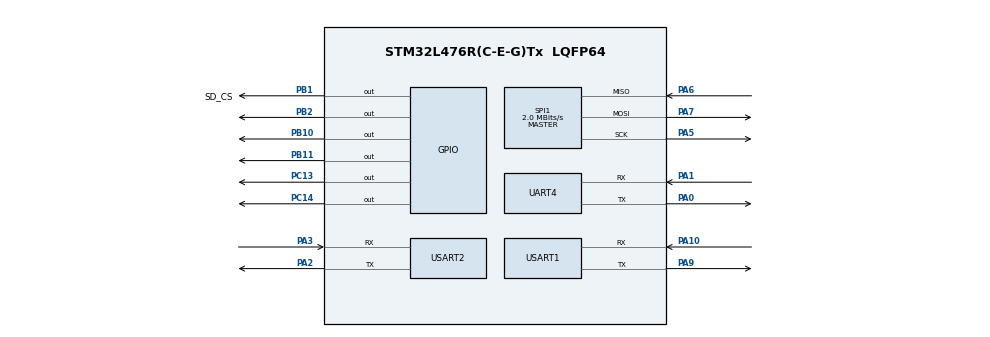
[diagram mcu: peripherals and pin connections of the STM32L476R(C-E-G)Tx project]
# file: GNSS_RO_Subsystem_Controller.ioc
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Dma.Request0=UART4_RX
Dma.Request1=USART2_RX
Dma.UART4_RX.0.Direction=DMA_PERIPH_TO_MEMORY
Dma.UART4_RX.0.Instance=DMA2_Channel5
Dma.UART4_RX.0.MemDataAlignment=DMA_MDATAALIGN_BYTE
Dma.UART4_RX.0.MemInc=DMA_MINC_ENABLE
Dma.UART4_RX.0.Mode=DMA_NORMAL
Dma.UART4_RX.0.PeriphDataAlignment=DMA_PDATAALIGN_BYTE
Dma.UART4_RX.0.PeriphInc=DMA_PINC_DISABLE
Dma.UART4_RX.0.Priority=DMA_PRIORITY_VERY_HIGH
Dma.USART2_RX.1.Direction=DMA_PERIPH_TO_MEMORY
Dma.USART2_RX.1.Instance=DMA1_Channel6
Dma.USART2_RX.1.MemDataAlignment=DMA_MDATAALIGN_BYTE
Dma.USART2_RX.1.MemInc=DMA_MINC_ENABLE
Dma.USART2_RX.1.Mode=DMA_NORMAL
Dma.USART2_RX.1.PeriphDataAlignment=DMA_PDATAALIGN_BYTE
Dma.USART2_RX.1.PeriphInc=DMA_PINC_DISABLE
Dma.USART2_RX.1.Priority=DMA_PRIORITY_LOW
FATFS._MAX_SS=4096
FATFS._USE_LFN=1
Mcu.Family=STM32L4
Mcu.Name=STM32L476R(C-E-G)Tx
Mcu.Package=LQFP64
NVIC.DMA1_Channel6_IRQn=true\:0\:0\:false\:false\:true\:false\:true\:true
NVIC.DMA2_Channel5_IRQn=true\:0\:0\:false\:false\:true\:false\:true\:true
NVIC.PriorityGroup=NVIC_PRIORITYGROUP_4
NVIC.UART4_IRQn=true\:0\:0\:false\:false\:true\:true\:true\:true
NVIC.USART1_IRQn=true\:0\:0\:false\:false\:true\:true\:true\:true
NVIC.USART2_IRQn=true\:0\:0\:false\:false\:true\:true\:true\:true
PA0.Mode=Asynchronous
PA0.Signal=UART4_TX
PA1.Mode=Asynchronous
PA1.Signal=UART4_RX
PA10.Mode=Asynchronous
PA10.Signal=USART1_RX
PA2.Mode=Asynchronous
PA2.Signal=USART2_TX
PA3.Mode=Asynchronous
PA3.Signal=USART2_RX
PA5.Mode=Full_Duplex_Master
PA5.Signal=SPI1_SCK
PA6.Mode=Full_Duplex_Master
PA6.Signal=SPI1_MISO
PA7.Mode=Full_Duplex_Master
PA7.Signal=SPI1_MOSI
PA9.Mode=Asynchronous
PA9.Signal=USART1_TX
PB1.GPIO_Label=SD_CS
PB1.Signal=GPIO_Output
PB10.Signal=GPIO_Output
PB11.Signal=GPIO_Output
PB2.Signal=GPIO_Output
PC13.Signal=GPIO_Output
PC14-OSC32_IN\ (PC14).Signal=GPIO_Output
ProjectManager.HeapSize=0x200
ProjectManager.StackSize=0x400
ProjectManager.TargetToolchain=STM32CubeIDE
RCC.HSE_VALUE=8000000
RCC.HSI_VALUE=16000000
RCC.LSE_VALUE=32768
RCC.MSI_VALUE=4000000
RCC.VCOOutputFreq_Value=32000000
SPI1.BaudRatePrescaler=SPI_BAUDRATEPRESCALER_2
SPI1.CalculateBaudRate=2.0 MBits/s
SPI1.DataSize=SPI_DATASIZE_8BIT
SPI1.Direction=SPI_DIRECTION_2LINES
SPI1.Mode=SPI_MODE_MASTER
SPI1.VirtualType=VM_MASTER
USART1.VirtualMode-Asynchronous=VM_ASYNC
USART2.VirtualMode-Asynchronous=VM_ASYNC
VP_FATFS_VS_Generic.Mode=User_defined
board=custom

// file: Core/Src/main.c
/* USER CODE BEGIN Header */
/**
  ******************************************************************************
  * @file           : main.c
  * @brief          : Main program body
  ******************************************************************************
  * @attention
  *
  * Copyright (c) 2024 STMicroelectronics.
  * All rights reserved.
  *
  * This software is licensed under terms that can be found in the LICENSE file
  * in the root directory of this software component.
  * If no LICENSE file comes with this software, it is provided AS-IS.
  *
  ******************************************************************************
  */
/* USER CODE END Header */
#include "main.h"
#include "fatfs.h"

/* USER CODE BEGIN Includes */

#include "types.h"
#include "string.h"
#include "nmea.h"
#include "configure_receiver_commands.h"
/* USER CODE END Includes */

/* USER CODE BEGIN PD */
FATFS fs;
FATFS *pfs;
FIL filB16, filB17;
UINT BW = 0;
FRESULT fres;
char pvt_reserve[200];

#define SD_card_enabled 				0
#define B16_ENABLED						0
#define B17_ENABLED						1
#define UPDATE_TO_SRAM					0x00
#define UPDATE_TO_SRAM_AND_FLASH		0x01

#define BUFFER_SIZE_B16					100 //150
#define BUFFER_SIZE_B17					700
#define UART_B16						huart4
#define UART_B17						huart1
#define UART_OBC						huart2

/* USER CODE END PD */

SPI_HandleTypeDef hspi1;

UART_HandleTypeDef huart4;
UART_HandleTypeDef huart1;
UART_HandleTypeDef huart2;
DMA_HandleTypeDef hdma_uart4_rx;
DMA_HandleTypeDef hdma_usart2_rx;

/* USER CODE BEGIN PV */
volatile int buffer_full_B16 = 0;
volatile int buffer_full_B17 = 0;
volatile int callback_index = 0;

uint8_t buffer_B16[2*BUFFER_SIZE_B16];
uint8_t buffer_B17[2*BUFFER_SIZE_B17];

int cmd_sent_B16 = 0;
int cmd_sent_B17 = 0;
int ack_flag_B16 = 0, nack_flag_B16 = 0;
int ack_flag_B17 = 0, nack_flag_B17 = 0;
int navigation_message_counter = 0;
char* num_to_constellation[7] = {"GPS", "SBA", "GLO", "GAL", "QZS", "BEI", "IRN"};
uint8_t enter_doze_mode[9] = {0xA0, 0xA1, 0x00, 0x02, 0x64, 0x1C, 0x78, 0x0D, 0x0A};
uint8_t set_factory_defaults[9] = {0xA0, 0xA1, 0x00, 0x02, 0x04, 0x01, 0x05, 0x0D, 0x0A};

volatile DMAStatus DMAHandler_B16;
volatile DMAStatus DMAHandler_B17;

/* USER CODE END PV */

void SystemClock_Config(void);
static void MX_GPIO_Init(void);
static void MX_DMA_Init(void);
static void MX_SPI1_Init(void);
static void MX_UART4_Init(void);
static void MX_USART2_UART_Init(void);
static void MX_USART1_UART_Init(void);

/* USER CODE BEGIN 0 */
void WriteLineChar(UART_HandleTypeDef* huart, char* data){
	/*
	 * Tries to emulate writeline function from matlab. Maintains a timeout of 100 ms.
	 * input: UART_HandleTypeDef* containing a pointer to the huart, char* containing the data to be sent.
	 * */
	if(data == NULL){
		WriteLineChar(huart, " ");
	}
	else{
		HAL_StatusTypeDef status = HAL_UART_Transmit(huart, (uint8_t*)data, strlen(data), HAL_MAX_DELAY);
		if(status !=HAL_OK){
			WriteLineChar(&huart2, "\r\nERROR: WriteLineChar Data Transmission failed\r\n");
		}
		if(status == HAL_BUSY){
			WriteLineChar(&huart2, "\r\nERROR: UART busy\r\n");
		}
	}
	return;
}

void WriteLineUint(UART_HandleTypeDef* huart, uint8_t_array info){
	/*--EXPERIMENTAL--
	 * Tries to emulate writeline function from matlab. Maintains a timeout of 100 ms.
	 * input: UART_HandleTypeDef* containing a pointer to the huart, uint8_t_array containing the data to be sent.
	 * */

	if(info.data == NULL || info.length == 0){
		WriteLineChar(huart, " ");
	}
	else{
		if(HAL_UART_Transmit(huart, info.data, info.length, HAL_MAX_DELAY)!=HAL_OK){

			WriteLineChar(&huart2, "\r\nERROR: WriteLineUint Data Transmission failed\r\n");

		}
	}
	return;
}

const char* FRESULT_String(FRESULT res) {
    switch (res) {
        case FR_OK:                  return "FR_OK";                   // (0) Succeeded
        case FR_DISK_ERR:            return "FR_DISK_ERR";             // (1) A hard error occurred in the low-level disk I/O layer
        case FR_INT_ERR:             return "FR_INT_ERR";              // (2) Assertion failed
        case FR_NOT_READY:           return "FR_NOT_READY";            // (3) The physical drive cannot work
        case FR_NO_FILE:             return "FR_NO_FILE";              // (4) Could not find the file
        case FR_NO_PATH:             return "FR_NO_PATH";              // (5) Could not find the path
        case FR_INVALID_NAME:        return "FR_INVALID_NAME";         // (6) The path name format is invalid
        case FR_DENIED:              return "FR_DENIED";               // (7) Access denied due to prohibited access or directory full
        case FR_EXIST:               return "FR_EXIST";                // (8) Access denied due to file already existing
        case FR_INVALID_OBJECT:      return "FR_INVALID_OBJECT";       // (9) The file/directory object is invalid
        case FR_WRITE_PROTECTED:     return "FR_WRITE_PROTECTED";      // (10) The physical drive is write protected
        case FR_INVALID_DRIVE:       return "FR_INVALID_DRIVE";        // (11) The logical drive number is invalid
        case FR_NOT_ENABLED:         return "FR_NOT_ENABLED";          // (12) The volume has no work area
        case FR_NO_FILESYSTEM:       return "FR_NO_FILESYSTEM";        // (13) There is no valid FAT volume
        case FR_MKFS_ABORTED:        return "FR_MKFS_ABORTED";         // (14) The f_mkfs() aborted due to any problem
        case FR_TIMEOUT:             return "FR_TIMEOUT";              // (15) Could not get a grant to access the volume within the defined period
        case FR_LOCKED:              return "FR_LOCKED";               // (16) The operation is rejected according to the file sharing policy
        case FR_NOT_ENOUGH_CORE:     return "FR_NOT_ENOUGH_CORE";      // (17) LFN working buffer could not be allocated
        case FR_TOO_MANY_OPEN_FILES: return "FR_TOO_MANY_OPEN_FILES";  // (18) Number of open files > _FS_SHARE
        case FR_INVALID_PARAMETER:   return "FR_INVALID_PARAMETER";    // (19) Given parameter is invalid
        default:                     return "Unknown Error";           // Unknown result code
    }
}

//Switch:
void Antenna_Switch(int op){
    /*Sets the antenna 2-in and 4-in switches according to table 4 on Pau's TFG:
    inputs: op, a char* that can be: "RO_FRONT" to configure RO using front antennas.
    "RO_BEHIND" that does the same for the antennas looking behind.
    "REFLECTOMETRY" configurations for GNSS-R experiments
    "CHANGES_POLARIZATION" that is used to study changes in forward signal polarization.*/
    /*Set the correct GPIOx GPIO_Pin once we have PCB layout!!*/
    //Reset all pins to avoid unexpected behaviours in the PCB.
    //We assume for the moment that PC13 is control 1 and PC14 is control 2

    uint16_t control_2_1 = GPIO_PIN_13, control_2_2 = GPIO_PIN_14;
    uint16_t control_4_1 = GPIO_PIN_2, control_4_2 = GPIO_PIN_10, control_4_3 = GPIO_PIN_11; //PLACE THEM IN DEFINE OR HIGH LEVEL!!

    //Reset 2-in switch:
    HAL_GPIO_WritePin(GPIOC, control_2_1, GPIO_PIN_RESET);
    HAL_GPIO_WritePin(GPIOC, control_2_2, GPIO_PIN_RESET);
    //Reset 4-in switch:
    //We assume for the moment that PB2 is control 1, PB10 is control 2, PB11 is control 3.

    HAL_GPIO_WritePin(GPIOB, control_4_2, GPIO_PIN_RESET);
    HAL_GPIO_WritePin(GPIOB, control_4_1, GPIO_PIN_SET);
    HAL_GPIO_WritePin(GPIOB, control_4_3, GPIO_PIN_SET);

    switch (op){
    case RO_FRONT_RHCP:
    	//TODO: Check this with AC!!
		//Set the 2-in switch to Navigation UP
		HAL_GPIO_WritePin(GPIOC, control_2_1, GPIO_PIN_SET);
		//Set the 4-in switch to Front antenna (RHCP)
		HAL_GPIO_WritePin(GPIOB, control_4_1, GPIO_PIN_SET);
		HAL_GPIO_WritePin(GPIOB, control_4_2, GPIO_PIN_SET);
		break;

    case RO_FRONT_LHCP:
    	//TODO: Check this with AC!!
		//Set the 2-in switch to Navigation UP
		HAL_GPIO_WritePin(GPIOC, control_2_1, GPIO_PIN_SET);
		//Set the 4-in switch to Front antenna (LHCP)
		HAL_GPIO_WritePin(GPIOB, control_4_3, GPIO_PIN_SET);
		break;

    case RO_BEHIND:
    	//Set the 2-in switch to Navigation UP
		HAL_GPIO_WritePin(GPIOC, control_2_1, GPIO_PIN_SET);
		//Set the 4-in switch to Back antenna
		HAL_GPIO_WritePin(GPIOB, control_4_1, GPIO_PIN_SET);
		break;

    case REFLECTOMETRY:
    	 //Set the 2-in switch to Navigation UP
		HAL_GPIO_WritePin(GPIOC, control_2_1, GPIO_PIN_SET);
		//Set the 4-in switch to Down antenna
		HAL_GPIO_WritePin(GPIOB, control_4_2, GPIO_PIN_SET);
		break;

    case CHANGES_POLARIZATION:
    	 //Set the 2-in switch to Front antenna (LHCP)
		HAL_GPIO_WritePin(GPIOC, control_2_2, GPIO_PIN_SET);
		//Set the 4-in switch to Front antenna (RHCP)
		HAL_GPIO_WritePin(GPIOB, control_4_1, GPIO_PIN_SET);
		HAL_GPIO_WritePin(GPIOB, control_4_2, GPIO_PIN_SET);

    default:
    	return;
    }
 return;
}
// Get RAW data functions:

uint32_t_array Get_Dopplers_RAW(uint8_t_array raw){
    uint8_t nmeas = raw.data[17];
    uint32_t_array doppler;
    doppler.length = nmeas;
    doppler.data = (uint32_t*)malloc(doppler.length*sizeof(uint32_t));
    if(doppler.data == NULL){exit(-1);}

    int i = 0, j = 0;
    for(i = 0; i<nmeas; i++){
        doppler.data[i] = 0;
        for(j=0; j<4; j++){

            doppler.data[i] |= (uint32_t) raw.data[38+31*i+j]<<(8*(3-j));
        }
    }
    return doppler;
}

uint32_t Get_TOW_RAW(uint8_t_array raw){
/*Gets the time of week (TOW) from the raw message*/
    uint32_t tow = 0x00000000;
    int j = 0;

    for(j=0; j<4; j++){
        tow |= (uint32_t) raw.data[9+j]<<(8*(3-j));

    }

    return tow;
}

uint16_t Get_WN_RAW(uint8_t_array raw){
    uint16_t wn = 0x0000;

    int j = 0;

    for(j=0; j<2; j++){
        wn |= (uint32_t) raw.data[7+j]<<(8*(1-j));
    }
    return wn;
}

uint64_t_array Get_Carrier_Cycle_RAW(uint8_t_array raw){
    uint8_t nmeas = raw.data[17];
    uint64_t_array carrier_cycle;
    carrier_cycle.length = nmeas;
    carrier_cycle.data = (uint64_t*)malloc(nmeas*sizeof(uint64_t));
    if(carrier_cycle.data == NULL){exit(-1);}
    int i = 0, j=0;
    for(i = 0; i<nmeas; i++){
        carrier_cycle.data[i] = 0;
        for(j=0; j<8; j++){
            carrier_cycle.data[i] |= (uint64_t) raw.data[30+31*i+j]<<(8*(7-j));
        }
    }

    return carrier_cycle;
}

uint64_t_array Get_Pseudorange_RAW(uint8_t_array raw){
    uint8_t nmeas = raw.data[17];
    uint64_t_array pseudorange;
    pseudorange.length = nmeas;
    pseudorange.data = (uint64_t*)malloc(nmeas*sizeof(uint64_t));
    if(pseudorange.data == NULL){exit(-1);}
    int i = 0, j=0;
    for(i = 0; i<nmeas; i++){
        pseudorange.data[i] = 0;
        for(j=0; j<8; j++){

            pseudorange.data[i] |= (uint64_t) raw.data[22+31*i+j]<<(8*(7-j));
        }
    }

    return pseudorange;
}

uint8_t_array Get_CN0_RAW(uint8_t_array raw){
    uint8_t nmeas = raw.data[17];
    uint8_t_array cno;
    cno.length = nmeas;
    cno.data = (uint8_t*)malloc(cno.length*sizeof(uint8_t));
    for(int i=0; i<nmeas; i++){
        cno.data[i] = raw.data[21+31*i];
    }

    return cno;
}

char** Get_Constellation_RAW(uint8_t_array raw){
    /*Obtains the constellation of the GNSS satellite from the raw message. (WARNING: in AN0039, the value 0xXY is in little endian, so X is the frequency band and Y is the constellation!!)
    input: raw message in an uint8_t array.
    output: char** matrix of length nmeas with each char* containing the constellation: GPS, SBA (SBAS), GLO (GLONASS), GAL (Galileo), BEI (BEIDOU), QZS (QZSS), IRN (IRNSS)*/
    uint8_t nmeas = raw.data[17];
    int i = 0;
    uint8_t buffer;
    char** constellation = (char**)malloc(nmeas*sizeof(char*));
    if(constellation==NULL){exit(-1);}
    for(i=0; i<nmeas; i++){
        constellation[i] = (char*)malloc(4*sizeof(char));
        if(constellation[i]==NULL){exit(-1);}
        constellation[i][3] = '\0';
    }
    for(i=0; i<nmeas; i++){
        buffer = raw.data[18+31*i];
        strcpy(constellation[i], num_to_constellation[(buffer) & 0x0F]);

    }
    return constellation;

}

char** Get_Frequency_Band_RAW(uint8_t_array raw, char** constellation){
    /*Obtains the frequency band of the signal from the GNSS satellite taken from the raw message. (WARNING: in AN0039, the value 0xXY is in little endian, so X is the frequency band and Y is the constellation!!)
    inputs: raw message in an uint8_t array, char** containing the constellations (call Get_Constellation_RAW first!!).
    output: char** matrix of length nmeas with each char* containing the frequency bands (see AN0039 for detail or the code below).
    */
    uint8_t nmeas = raw.data[17];
    int i = 0;
    uint8_t buffer;
    char** freq_band = (char**)malloc(nmeas*sizeof(char*));
    if(freq_band==NULL){exit(-1);}
    for(i=0; i<nmeas; i++){
        freq_band[i] = (char*)malloc(6*sizeof(char));
        if(freq_band[i]==NULL){exit(-1);}
        freq_band[i][5] = '\0';
    }
    for(i=0; i<nmeas; i++){
        buffer = (raw.data[18+31*i]>>4) & 0x0F;

        if(strcmp(constellation[i], "GPS")==0 || strcmp(constellation[i], "QZS")==0){
            switch(buffer){
                case 0:
                strcpy(freq_band[i], "L1C/A");
                break;
                case 1:
                strcpy(freq_band[i], "L1C");
                break;
                case 2:
                strcpy(freq_band[i], "L2C");
                break;
                case 4:
                strcpy(freq_band[i], "L5");
                break;
                case 6:
                strcpy(freq_band[i], "LEX");
                break;
            }
        }
        else if(strcmp(constellation[i], "GLO")==0){
            switch(buffer){
                case 0:
                strcpy(freq_band[i], "L1");
                break;
                case 2:
                strcpy(freq_band[i], "L2");
                break;
                case 4:
                strcpy(freq_band[i], "L3");
                break;
            }

        }
        else if(strcmp(constellation[i], "GAL")==0){
            switch(buffer){
                case 0:
                strcpy(freq_band[i], "E1");
                break;
                case 4:
                strcpy(freq_band[i], "E5a");
                break;
                case 5:
                strcpy(freq_band[i], "E5b");
                break;
                case 6:
                strcpy(freq_band[i], "E6");
                break;

            }

        }

        else if(strcmp(constellation[i], "BEI")==0){
            switch(buffer){
                case 0:
                strcpy(freq_band[i], "B1I");
                break;
                case 1:
                strcpy(freq_band[i], "B1C");
                break;
                case 4:
                strcpy(freq_band[i], "B2A");
                break;
                case 5:
                strcpy(freq_band[i], "B2I");
                break;
                case 7:
                strcpy(freq_band[i], "B3I");
                break;

            }
        }
        else if(strcmp(constellation[i], "SBA")==0){
            strcpy(freq_band[i], "L1");

        }
        else{
            strcpy(freq_band[i], "L5");
        }
    }
    return freq_band;

}

uint8_t_array Get_SVID_RAW(uint8_t_array raw){
    /*Gets SVIDs from raw message.
    input: uint8_t_array containing the raw message.
    output: uint8_t_array containing the SVID for each channel.*/
    uint8_t_array SVID;
    SVID.length = raw.data[17];
    SVID.data = malloc(SVID.length*sizeof(uint8_t));
    if(SVID.data==NULL){exit(-1);}
    int i = 0;
    for(i=0; i<SVID.length; i++){
        SVID.data[i] = raw.data[19+i*31];
    }
    return SVID;
}

uint8_t_array Tokenize_uint8_t_array(uint8_t_array arr, int* beginning_mark){
    /*Tokenizes a buffer containing messages in binary protocol for B16/17 receivers.
    inputs: a uint8_t_array containing the buffer, an int* pointer storing the beginning point of the message we're looking for.
    beginning_mark updates itself automatically. Beware of resetting it after the buffer is complete!!
    outputs: the message.
    */
    int i = 0, j = 0;
    uint8_t_array msg = {NULL, 0};
    //Get the points at which the message begins and ends.
    if(*beginning_mark < arr.length -2){
        for(i=*beginning_mark; i<arr.length-1; i++){
            if(arr.data[i]==0xA0 && arr.data[i+1] == 0xA1){
                for(j=i+2; j<arr.length; j++){
                    if(arr.data[j-1]==0x0D && arr.data[j]==0x0A){
                        msg.length = j+1-i;
                        msg.data = (uint8_t*)malloc(msg.length*sizeof(uint8_t));
                        if(msg.data == NULL){exit(-1);}
                        memcpy(msg.data, arr.data+i, msg.length);
                        *beginning_mark = j+1;
                        return msg;
                    }
                }

            }

        }
    }

    // If no valid message is found, return an empty array

    *beginning_mark = arr.length;
    return msg;
}

char* Hex_to_String(uint8_t_array arr){
    /*Converts a hexadecimal array to a string (without spaces).
    inputs: uint8_t_array with the array to convert.
    output: char* with the converted array to a string.*/
    int i = 0;
    char* str = (char*)malloc((2*arr.length+1)*sizeof(char));

    char* buffer = (char*)malloc(3*sizeof(char));
    if(str==NULL||buffer==NULL){exit(-1);}
    str[2*arr.length] = '\0';
    buffer[2] = '\0';

    for(i=0; i<arr.length; i++){
        char hexChars[17]="0123456789ABCDEF";
        buffer[0] = hexChars[(arr.data[i] >> 4) & 0x0F]; // High nibble
        buffer[1] = hexChars[arr.data[i] & 0x0F];        // Low nibble

        strcpy(str+2*i, buffer);

    }
    free(buffer);
    return str;
}

uint8_t_array Build_Binary_OBC_Data(uint8_t_array raw, char* receiver_id, uint16_t wn, uint32_t tow, uint8_t_array svid, uint32_t_array doppler, uint64_t_array pseudorange, uint64_t_array carrier, uint8_t_array cno){
    /*Builds the binary message containing all the raw data that will be sent to the OBC. It's 23*NMEAS+13 bytes long. */
    uint8_t_array msg;
    uint16_t nmeas = raw.data[17];
    msg.length = 23*nmeas+13;
    msg.data = (uint8_t*)malloc(msg.length*sizeof(uint8_t));
    if(msg.data == NULL){exit(-1);}
    int i= 0, j = 0;
    uint8_t buffer = 0x00;

    msg.data[0] = 0xA0, msg.data[1] = 0xA1;
    msg.data[msg.length-2] = 0x0D, msg.data[msg.length-1] = 0x0A;

    if(strcmp(receiver_id, "B16")==0){msg.data[2] = 0x01;}
    if(strcmp(receiver_id, "B17")==0){msg.data[2] = 0x11;}

    memcpy(msg.data+3, &wn, 2);
    for(j=0; j<4; j++){
        buffer = (tow>>(24-8*j))&0xFF;
        memcpy(msg.data+5+j, &buffer, 1);
    }
    memcpy(msg.data+9, &nmeas, 2);

    for(i=0; i<nmeas; i++){
        //Constellation + Frequency
        memcpy(msg.data+10+23*i, raw.data+18+(i*31), 1);
        //SVID
        memcpy(msg.data+11+23*i, raw.data+19+(i*31), 1);

        for(j=0; j<4; j++){
            buffer = (doppler.data[i]>>(24-8*j)) & 0xFF;
            memcpy(msg.data+12+j+23*i, &buffer, 1);
        }
        for(j=0; j<8; j++){
            buffer = (pseudorange.data[i]>>(56-8*j)) & 0xFF;
            memcpy(msg.data+16+j+23*i, &buffer, 1);
        }
        for(j=0; j<8; j++){
            buffer = (carrier.data[i]>>(56-8*j)) & 0xFF;
            memcpy(msg.data+24+j+23*i, &buffer, 1);
        }

        memcpy(msg.data+32+23*i, &cno.data[i], 1);
    }

    uint8_t checksum = 0x00;

    for(i=2; i<msg.length-3;i++){
        checksum ^= msg.data[i];
    }
    msg.data[msg.length-3] = checksum;
    return msg;
}

void Process_Binary_Data(uint8_t_array arr, char* receiver_id, FIL fil){

	int beginning_mark = 0;

	while(beginning_mark < arr.length){

		uint8_t_array msg = Tokenize_uint8_t_array(arr, &beginning_mark);

		if(msg.data[4]==0xE5){

			uint8_t nmeas = msg.data[17]; //For future conversion towards static memory...

			uint32_t tow = Get_TOW_RAW(msg);

			uint16_t wn = Get_WN_RAW(msg);

			uint8_t_array cno_msg = Get_CN0_RAW(msg);

			uint64_t_array carrier_msg = Get_Carrier_Cycle_RAW(msg);

			uint64_t_array pseudo_msg = Get_Pseudorange_RAW(msg);

			uint32_t_array doppler_msg = Get_Dopplers_RAW(msg);

			uint8_t_array svid_msg = Get_SVID_RAW(msg);

			char** constellation_msg = Get_Constellation_RAW(msg);

			char** freq_band_msg = Get_Frequency_Band_RAW(msg, constellation_msg);

			//TODO: add SRAM/SD storage and OBC transmit (pass storage as pointer...).

			uint64_t carrier_placeholder = 0, pseudo_placeholder = 0;

			uint32_t doppler_placeholder = 0;

			//Craft data entry: WN, TOW, Constellation, SVID, Freq Band, Lat, Lon, Alt, Doppler, Pseudorange, Carrier, CN0\n

			float doppler_float = 0;
			double pseudorange_double = 0, carrier_double = 0;

			for(int i=0; i<cno_msg.length; i++){

				doppler_float = 0;
				pseudorange_double = 0;
				carrier_double = 0;

				char* msg_buffer = malloc(401*sizeof(char));

				if(msg_buffer==NULL){exit(-1);}

				msg_buffer[400] = '\0';

				//convert from hex to several types.

				doppler_placeholder = doppler_msg.data[i];

				pseudo_placeholder = pseudo_msg.data[i];

				carrier_placeholder = carrier_msg.data[i];

				memcpy(&doppler_float, &doppler_placeholder, sizeof(float));

				memcpy(&pseudorange_double, &pseudo_placeholder, sizeof(double));

				memcpy(&carrier_double, &carrier_placeholder, sizeof(double));

				snprintf(msg_buffer, 400, "%s,%u,%u,%s,%u,%s,,,,%f,%lf,%lf,%u\n", receiver_id, wn, tow, constellation_msg[i], svid_msg.data[i], freq_band_msg[i], doppler_float, pseudorange_double, carrier_double, cno_msg.data[i]);

				if(SD_card_enabled == 1){
					f_puts(msg_buffer, &fil);
				}

				free(msg_buffer);

			}

			//Craft message for OBC.

			uint8_t_array msg_OBC = Build_Binary_OBC_Data(msg, receiver_id, wn, tow, svid_msg, doppler_msg, pseudo_msg, carrier_msg, cno_msg);

			HAL_UART_Transmit_IT(&UART_OBC, msg_OBC.data, msg_OBC.length);
			free(cno_msg.data), free(carrier_msg.data), free(pseudo_msg.data), free(doppler_msg.data), free(svid_msg.data);

			for(int i=0; i<msg.data[17]; i++){

			free(constellation_msg[i]), free(freq_band_msg[i]);

			}

			free(constellation_msg), free(freq_band_msg), free(msg_OBC.data);

		}

			free(msg.data);

	}

	return;

}
void Process_Binary_Data_Reduced(uint8_t_array arr, char* receiver_id){
	//TESTING PURPOSES ONLY!!!
	int beginning_mark = 0;

	while(beginning_mark < arr.length){
		uint8_t_array msg = Tokenize_uint8_t_array(arr, &beginning_mark);
		if(msg.data != NULL){
			char msg_id_str[50];
			sprintf(msg_id_str, "\r\nMsg ID: %X\r\n", msg.data[4]);
			HAL_UART_Transmit_IT(&huart2,(uint8_t*)msg_id_str, strlen(msg_id_str));
		}
	}
	return;
}
//Detect ACK/NACK:
int Detect_ACK(uint8_t_array buf){
	/*Used in DMA Receive Callback functions to check if there are ACK messages.
	 * Transmits to terminal that an ACK has been received when finding one along the message ID (may find more than one).
	 * inputs: uint8_t_array with the buffer.
	 * outputs: an int that is 1 when an ACK has been found, and 0 when no ACKs have been found.*/
	int ack_flag = 0;
	int i = 0;

	for(i=0; i<buf.length-5; i++){
		if(buf.data[i]==0xA0 && buf.data[i+1]==0xA1 && buf.data[i+4]==0x83){
			ack_flag = 1;
		}
	}
	return ack_flag;
}

int Detect_NACK(uint8_t_array buf){
	/*Used in DMA Receive Callback functions to check if there are NACK messages.
		 * Transmits to terminal that an NACK has been received when finding one along the message ID (may find more than one).
		 * inputs: uint8_t_array with the buffer.
		 * outputs: an int that is 1 when an NACK has been found, and 0 when no NACKs have been found.*/
	int nack_flag = 0;
	int i = 0;

	for(i=0; i<buf.length-5; i++){
		if(buf.data[i]==0xA0 && buf.data[i+1]==0xA1 && buf.data[i+4]==0x84){
			nack_flag = 1;
		}
	}
	return nack_flag;
}

void Process_NMEA_Data(char* buffer_str_cpy){
    /*Function to process the NMEA data, parsing the buffer string into messages and extracting mode, talker ID, UTC time, latitude and longitude
    input: buffer_str_cpy string with the buffer (only when NMEA is set)*/

    char* message;
    while((message = strsep(&buffer_str_cpy, "\n"))!=NULL){
        //139 is not in the Get functions and is inside this loop...
        char* message_cpy=(char*)malloc((strlen(message)+1)*sizeof(char));
        if(message_cpy==NULL){exit(-1);}
        strcpy(message_cpy, message);
        message_cpy[strlen(message)]='\0';

        for(int i=0; i<strlen(message_cpy); i++){if(message_cpy[i]=='\r'){message_cpy[i]='\0';}}

        int is_nmea = is_NMEA(message_cpy);

        if(is_nmea == 1){
            //find the checksum.
            int checksum_computed = Checksum_NMEA(message_cpy);

            char* checksum_message = malloc(3*sizeof(char));
            if(checksum_message == NULL){exit(-1);}
            checksum_message[2] = '\0';
            if(strlen(message_cpy)-2>= 0){
                checksum_message[0] = message_cpy[strlen(message_cpy)-2];
                checksum_message[1] = message_cpy[strlen(message_cpy)-1];
            }else{
                checksum_message[0] = '0';
                checksum_message[1] = '0';
            }

            int checksum_message_int = (int) strtol(checksum_message, NULL, 16);

            if((message_cpy != NULL) && (strlen(message_cpy)>1) && (checksum_message_int-checksum_computed == 0)){
                char* mode = Get_Mode(message);
                char* talker_ID = Get_Talker_ID(message);
                char* utc_date = Get_UTCDate(message, mode);
                char* utc_time = Get_UTCTime(message, mode);
                char* latitude = Get_Latitude(message, mode);
                char* longitude = Get_Longitude(message, mode);
                char* msl_altitude = Get_Altitude(message, mode);

                //Check value for timeout
                char* terminal_pvt = malloc(200*sizeof(char));
                if(terminal_pvt == NULL){exit(-1);}
                snprintf(terminal_pvt, 200, "\r\n%s,%s,%s,%s,%s,%s,%s\r\n", mode, talker_ID, utc_date, utc_time, latitude, longitude, msl_altitude);
                strcpy(pvt_reserve, terminal_pvt);
                HAL_UART_Transmit_IT(&huart2, (uint8_t*)terminal_pvt, strlen(terminal_pvt));

                if(SD_card_enabled == 1){
					fres = f_sync(&filB16);
					if(fres==FR_OK){
						HAL_UART_Transmit_IT(&huart2, (uint8_t*)"File synchronized!\r\n", strlen("File synchronized!\r\n"));
					}
					fres = f_write(&filB16, terminal_pvt, strlen(terminal_pvt), &BW);
					const char* fres_str = FRESULT_String(fres);
					HAL_UART_Transmit_IT(&huart2, (uint8_t*)fres_str, strlen(fres_str));
					if(fres != FR_OK){
						HAL_UART_Transmit_IT(&huart2, (uint8_t*)"Data not stored!\r\n", strlen("Data not stored!\r\n"));
					}
                }

                free(mode), free(talker_ID), free(utc_date), free(utc_time), free(msl_altitude), free(latitude), free(longitude);
                free(terminal_pvt);
            }
            free(checksum_message);
        }
            free(message_cpy);

    }

    return;
}

//Callbacks

void HAL_UART_RxHalfCpltCallback(UART_HandleTypeDef *huart)
{
	if(huart->Instance == UART_B16.Instance){
		DMAHandler_B16.stat = DATA_HALF_RECEIVED;
	}

	if(huart->Instance == UART_B17.Instance){
		DMAHandler_B17.stat = DATA_HALF_RECEIVED;
	}

}

void HAL_UART_RxCpltCallback(UART_HandleTypeDef *huart)
{
	if(huart->Instance == UART_B16.Instance){
		DMAHandler_B16.stat = DATA_RECEIVED;
		DMAHandler_B16.request = REQUEST_FULFILLED;
	}
	if(huart->Instance == UART_B17.Instance){
		DMAHandler_B17.stat = DATA_RECEIVED;
		DMAHandler_B17.request = REQUEST_FULFILLED;
	}
}

void HAL_UART_TxCpltCallback(UART_HandleTypeDef *huart){
	return;
}

void HAL_UART_RxErrorCallback(UART_HandleTypeDef *huart){
	if(huart->Instance == UART_B16.Instance){
		DMAHandler_B16.stat = DMA_ERROR;
	}
	else if(huart->Instance == UART_B17.Instance){
		DMAHandler_B17.stat = DMA_ERROR;
	}
	char error[50];

	switch(huart->ErrorCode){

		case HAL_UART_ERROR_PE:
			sprintf(error, "\r\nDMA Error: Parity error\r\n");
			break;
		case HAL_UART_ERROR_FE:
			sprintf(error, "\r\nDMA Error: Frame error\r\n");
			break;
		case HAL_UART_ERROR_NONE:
			sprintf(error, "\r\nDMA Error: No error\r\n");
			break;
		case HAL_UART_ERROR_ORE:
			sprintf(error, "\r\nDMA Error: Overrun error\r\n");
			break;
		case HAL_UART_ERROR_DMA:
			sprintf(error, "\r\nDMA Error: DMA transfer error\r\n");
			break;
		default:
			sprintf(error, "\r\nDMA Error: Noise error\r\n");

	}

	HAL_UART_Transmit_IT(&UART_OBC, (uint8_t*)error, strlen(error));
}

void Init_OBC_Cmd(OBC_cmd* OBC){
	OBC->change_output_message_format_B16 = 1, OBC->change_output_message_format_B17 = 0;
	OBC->change_power_mode_B16 = 0, OBC->change_power_mode_B17 = 0, OBC->change_switch_mode = 0;
	OBC->doze_B16 = 0, OBC->doze_B17 = 0, OBC->read_from_SD_card = 0;
	OBC->reset_B16 = 0, OBC->reset_B17 = 0, OBC->set_output_B16 = NMEA, OBC->set_output_B17 = 0;
	OBC->set_switch = 0, OBC->status_report_B16 = 0, OBC->status_report_B17 = 0;
	return;
}

void Execute_OBC_Cmd(OBC_cmd* OBC, receiver_status* B16_status, receiver_status* B17_status){
	  //Set power mode.
	  if(OBC->change_power_mode_B16 == 1){
		  if(OBC->doze_B16 == 1){
			  HAL_UART_Transmit_IT(&UART_B16, enter_doze_mode, 9);
			  OBC->doze_B16 = 0, B16_status->receiver_dozed = 1;
		  }
		  if(OBC->reset_B16 == 1){
			  //TODO: Obtain values for day, month, year, hour, minute, second, lat, lon, alt.
			  uint8_t_array reset_cmd = Receiver_Cold_Restart(COLD_START, 01, 01, 2025, 00, 00, 00, 0, 0, 0);
			  HAL_UART_Transmit_IT(&UART_B16, reset_cmd.data, reset_cmd.length);
			  free(reset_cmd.data);
			  OBC->reset_B16 = 0, B16_status->receiver_dozed = 0, B16_status->receiver_on = 1;

		  }
		  OBC->change_power_mode_B16 = 0;
	  }
	  if(OBC->change_power_mode_B17 == 1){
		  if(OBC->doze_B17 == 1){
			  HAL_UART_Transmit_IT(&UART_B17, enter_doze_mode, 9);
			  cmd_sent_B17 = 1;

			  OBC->doze_B17 = 0, B17_status->receiver_dozed = 1;

		  }
		  if(OBC->reset_B17 == 1){
			  //TODO: Obtain values for day, month, year, hour, minute, second, lat, lon, alt.
			  uint8_t_array reset_cmd = Receiver_Cold_Restart(COLD_START, 01, 01, 2025, 00, 00, 00, 0, 0, 0);
			  HAL_UART_Transmit_IT(&UART_B17, reset_cmd.data, reset_cmd.length);

			  free(reset_cmd.data);
			  OBC->reset_B17 = 0, B17_status->receiver_dozed = 0, B17_status->receiver_on = 1;

		  }
		  OBC->change_power_mode_B17 = 0;
	  }
	  //Set antenna switches.
	  if(OBC->change_switch_mode == 1){
		  Antenna_Switch(OBC->set_switch);
		  OBC->change_switch_mode = 0;
	  }

	  //Set receiver output message format (NMEA or binary)
	  if(OBC->change_output_message_format_B16 == 1){
		  if(OBC->set_output_B16 == NMEA){
			  //transmit cmd_change_message_format_to_NMEA through appropriate UART
			  uint8_t_array cmd_change_message_format_to_NMEA = Change_Message_Format("NMEA", UPDATE_TO_SRAM);
			  HAL_UART_Transmit_IT(&UART_B16, cmd_change_message_format_to_NMEA.data, cmd_change_message_format_to_NMEA.length);
			  free(cmd_change_message_format_to_NMEA.data);
			  B16_status->NMEA_set = 1;
		  }
		  else{
			  //transmit cmd_change_message_format_to_binary through appropriate UART
			  uint8_t_array cmd_change_message_format_to_binary = Change_Message_Format("Binary", UPDATE_TO_SRAM);
			  HAL_UART_Transmit_IT(&UART_B16, cmd_change_message_format_to_binary.data, cmd_change_message_format_to_binary.length);
			  free(cmd_change_message_format_to_binary.data);
			  B16_status->binary_set = 1;
		  }

		  OBC->change_output_message_format_B16 = 0;
	  }

	  if(OBC->change_output_message_format_B17==1){
		  if(OBC->set_output_B17 == NMEA){
			  uint8_t_array configure_rtk_mode = Configure_RTK_Mode_and_Operational_Function(RTK_ROVER, RTK_ROVER_NORMAL, 0,0,0,0,0,0,UPDATE_TO_SRAM);
			  HAL_UART_Transmit_IT(&UART_B17, configure_rtk_mode.data, configure_rtk_mode.length);
			  free(configure_rtk_mode.data);

			  B17_status->NMEA_set = 1;
			  B17_status->binary_set = 0;
		  }
		  else if(OBC->set_output_B17 == BINARY){
			  uint8_t_array configure_rtk_mode = Configure_RTK_Mode_and_Operational_Function(RTK_BASE, RTK_BASE_KINEMATIC, 0x00010000,0x03,0,0,0,0,UPDATE_TO_SRAM);
			  HAL_UART_Transmit_IT(&UART_B17, configure_rtk_mode.data, configure_rtk_mode.length);
			  uint8_t_array configure_binary_output = Configure_Binary_Measurement_Data_Output(8, 0, 0, 0, 0, 0, 1, UPDATE_TO_SRAM);
			  HAL_UART_Transmit_IT(&UART_B17, configure_binary_output.data, configure_rtk_mode.length);
			  free(configure_rtk_mode.data), free(configure_binary_output.data);

			  B17_status->binary_set = 1;
			  B17_status->NMEA_set = 0;
			  B17_status->ext_raw_data_set = 1;
		  }

		  OBC->change_output_message_format_B17 = 0;
	  }

	  return;
}

//MISC:

/* USER CODE END 0 */

int main(void)
{

  /* USER CODE BEGIN 1 */
	uint8_t_array buffer_B16_arr;
	uint8_t_array buffer_B17_arr;
	uint8_t current_buffer_B16[BUFFER_SIZE_B16];
	uint8_t current_buffer_B17[BUFFER_SIZE_B17];

	buffer_B16_arr.length = BUFFER_SIZE_B16;
	buffer_B17_arr.length = BUFFER_SIZE_B17;

	buffer_B16_arr.data = current_buffer_B16;
	buffer_B17_arr.data = current_buffer_B17;

	DMAHandler_B16.stat = IDLE;
	DMAHandler_B16.request = REQUEST_DATA;
	DMAHandler_B17.stat = IDLE;
	DMAHandler_B17.request = REQUEST_DATA;

    int beginning_mark_B16 = 0;
    int beginning_mark_B17 = 0;
    int iteration_index = 0;
    uint8_t_array OBC_Rx_arr;
    OBC_Rx_arr.length = 50;
    OBC_Rx_arr.data = malloc(OBC_Rx_arr.length*sizeof(uint8_t));
    if(OBC_Rx_arr.data == NULL){exit(-1);}

    //Receiver status:
    receiver_status B16_status, B17_status;
    B16_status.NMEA_set = 1, B16_status.binary_set = 0, B16_status.ext_raw_data_set = 0, B16_status.receiver_on = 1, B16_status.receiver_dozed = 0;
    B17_status.NMEA_set = 0, B17_status.binary_set = 1, B17_status.ext_raw_data_set = 1, B17_status.receiver_on = 1, B17_status.receiver_dozed = 0;

    //OBC command object:
    OBC_cmd OBC;
    //Configurations switch:
    Init_OBC_Cmd(&OBC);

    //commands:

    uint8_t_array cmd_configure_navigation_data_message_interval = Configure_Navigation_Data_Message_Interval(3, UPDATE_TO_SRAM);

    uint8_t query_software_version[9] = {0xA0, 0xA1, 0x00, 0x02, 0x02, 0x00, 0x02, 0x0D, 0x0A};
    uint8_t_array cmd_query_software_version = Build_uint8_t_Command(query_software_version, 9);

    uint8_t query_power_mode[8] = {0xA0, 0xA1, 0x00, 0x01, 0x15, 0x15, 0x0D, 0x0A};
    uint8_t_array cmd_query_power_mode = Build_uint8_t_Command(query_power_mode, 8);

    uint8_t query_nav_data_msg_int[9] = {0xA0, 0xA1, 0x00, 0x02, 0x64, 0x30, 0x54, 0x0D, 0x0A};
    uint8_t_array cmd_query_navigation_data_msg_interval = Build_uint8_t_Command(query_nav_data_msg_int, 9);

    uint8_t set_pwr_to_normal[10] = {0xA0, 0xA1, 0x00, 0x03, 0x0C, 0x00, 0x00, 0x0C, 0x0D, 0x0A};
    uint8_t_array cmd_set_power_to_normal = Build_uint8_t_Command(set_pwr_to_normal, 10);

    uint8_t NMEA_intervals[13] = {0x01, 0x00, 0x00, 0x00, 0x00, 0x00, 0x01, 0x01, 0x00, 0x00, 0x00, 0x00, 0x00};
    uint8_t_array cmd_configure_NMEA_intervals = Configure_NMEA_Message_Interval(NMEA_intervals);
  /* USER CODE END 1 */

  /* MCU Configuration--------------------------------------------------------*/

  /* Reset of all peripherals, Initializes the Flash interface and the Systick. */
  HAL_Init();

  /* Configure the system clock */
  SystemClock_Config();

  /* Initialize all configured peripherals */
  MX_GPIO_Init();
  MX_DMA_Init();
  MX_SPI1_Init();
  MX_UART4_Init();
  MX_FATFS_Init();
  MX_USART2_UART_Init();
  MX_USART1_UART_Init();
  /* USER CODE BEGIN 2 */
  HAL_UART_Transmit_IT(&UART_OBC, (uint8_t*)"\r\nNew run\r\n", strlen("\r\nNew run\r\n"));
  //Initialize Micro SD module

  if(SD_card_enabled == 1){
	  FRESULT fres = f_mount(&fs, "", 1);

	  if(fres == FR_OK){
		  HAL_UART_Transmit_IT(&UART_OBC, (uint8_t*)"\r\nSD card mounted\r\n", strlen("\r\nSD card mounted\r\n"));
	  }
	  //Mount/unmount SD correct, no problems here...
	  char micro_sd_str_0[35];
	  sprintf(micro_sd_str_0, "fres code f_mount: %s\r\n",FRESULT_String(fres));
	  WriteLineChar(&UART_OBC, micro_sd_str_0);

	  HAL_Delay(1000);
	  DSTATUS stat = disk_status(0);
	  if(stat != RES_OK){
		  WriteLineChar(&UART_OBC, "ERROR: Disk not ready after mount\r\n");
	  }
	  //Check available space...
	  DWORD fre_clust;
	  FATFS *pfs;
	  uint32_t totalSpace, freeSpace;
	  fres = f_getfree("", &fre_clust, &pfs);
	  if(fres == FR_OK){
		  totalSpace = (uint32_t)((pfs->n_fatent - 2) * pfs->csize * 0.5);
		  freeSpace = (uint32_t)(fre_clust * pfs->csize * 0.5);
		  char space[200];
		  sprintf(space,"TotalSpace : %lu bytes, FreeSpace = %lu bytes\r\n", totalSpace, freeSpace);
		  HAL_UART_Transmit_IT(&UART_OBC, (uint8_t*) space, strlen(space));
	  }

	  char micro_sd_str_1[30];
	  sprintf(micro_sd_str_1, "fres code f_getfree: %s\r\n",FRESULT_String(fres));
	  HAL_UART_Transmit_IT(&UART_OBC, (uint8_t*)micro_sd_str_1, strlen(micro_sd_str_1));

	  fres = f_open(&filB16, "B16_data.txt", FA_WRITE | FA_READ | FA_CREATE_ALWAYS);
	  if(fres == FR_OK){
		  HAL_UART_Transmit_IT(&UART_OBC, (uint8_t*)"file opened successfully!\r\n", strlen("file opened successfully!\r\n"));
	  }

	  fres = f_puts("Una vez vi una vaca vestida de uniforme\r\n", &filB16);

	  if(fres==FR_OK){
		  HAL_UART_Transmit_IT(&UART_OBC, (uint8_t*)"write successful\r\n", strlen("write successful\r\n"));
	  }
  }

  /* USER CODE END 2 */

  /* Infinite loop */
  /* USER CODE BEGIN WHILE */

  //Receive data from B16/17 and store into buffers:

  if(B16_ENABLED){
	  HAL_UART_Receive_DMA(&UART_B16, buffer_B16, 2*BUFFER_SIZE_B16);
  }

  if(B17_ENABLED){
	  HAL_UART_Receive_DMA(&UART_B17, buffer_B17, 2*BUFFER_SIZE_B17);
  }

  while (1)
  {

	  if(B17_ENABLED){

		  char* buffer_full_str = malloc(50*sizeof(char));

		  if(DMAHandler_B17.stat == DATA_HALF_RECEIVED){
			  memcpy(current_buffer_B17, buffer_B17, BUFFER_SIZE_B17);
			  sprintf(buffer_full_str,"\r\nbuffer full B17 1\r\n");
		  }
		  else if(DMAHandler_B17.stat == DATA_RECEIVED){
			  memcpy(current_buffer_B17, buffer_B17+BUFFER_SIZE_B17, BUFFER_SIZE_B17);
			  sprintf(buffer_full_str,"\r\nbuffer full B17 2\r\n");
			  DMAHandler_B17.request = REQUEST_DATA;
		  }
		  if(DMAHandler_B17.stat == DATA_RECEIVED || DMAHandler_B17.stat == DATA_HALF_RECEIVED){
			  HAL_UART_Transmit_IT(&UART_OBC, (uint8_t*)buffer_full_str, strlen(buffer_full_str));
			  free(buffer_full_str);
			  if(B17_status.binary_set){
				  Process_Binary_Data_Reduced(buffer_B17_arr, "B17");
			  }
			  else{
				  char* buffer_B17_str = malloc((buffer_B17_arr.length+1)*sizeof(char));
				  if(buffer_B17_str == NULL){exit(-1);}
				  buffer_B17_str[buffer_B17_arr.length] = '\0';
				  memcpy(buffer_B17_str, buffer_B17_arr.data, buffer_B17_arr.length);
				  Process_NMEA_Data(buffer_B17_str);
				  free(buffer_B17_str);
			  }

			  DMAHandler_B17.stat = IDLE;
	  	  }

	  }

	  if(B16_ENABLED){

	 		  char* buffer_full_str = malloc(50*sizeof(char));

	 		  if(DMAHandler_B16.stat == DATA_HALF_RECEIVED){
	 			  memcpy(current_buffer_B16, buffer_B16, BUFFER_SIZE_B16);
	 			  sprintf(buffer_full_str,"\r\nbuffer full B16 1\r\n");
	 		  }
	 		  else if(DMAHandler_B16.stat == DATA_RECEIVED){
	 			  memcpy(current_buffer_B16, buffer_B16+BUFFER_SIZE_B16, BUFFER_SIZE_B16);
	 			  sprintf(buffer_full_str,"\r\nbuffer full B16 2\r\n");
	 			  DMAHandler_B16.request = REQUEST_DATA;
	 		  }
	 		  if(DMAHandler_B16.stat == DATA_RECEIVED || DMAHandler_B16.stat == DATA_HALF_RECEIVED){
	 			  HAL_UART_Transmit_IT(&UART_OBC, (uint8_t*)buffer_full_str, strlen(buffer_full_str));
	 			  free(buffer_full_str);
	 			  if(B16_status.binary_set){
	 				  Process_Binary_Data_Reduced(buffer_B17_arr, "B17");
	 			  }
	 			  else{
	 				  char* buffer_B16_str = malloc((buffer_B16_arr.length+1)*sizeof(char));
	 				  if(buffer_B16_str == NULL){exit(-1);}
	 				  buffer_B16_str[buffer_B16_arr.length] = '\0';
	 				  memcpy(buffer_B16_str, buffer_B16_arr.data, buffer_B16_arr.length);
	 				  Process_NMEA_Data(buffer_B16_str);
	 				  free(buffer_B16_str);
	 			  }

	 			  DMAHandler_B16.stat = IDLE;
	 	  	  }

	 	  }

	  //Add OBC command listener

	  Execute_OBC_Cmd(&OBC, &B16_status, &B17_status);

	  if((B16_status.NMEA_set == 1) && (iteration_index%100000 == 0)){
		  HAL_UART_Transmit_IT(&huart4, cmd_configure_NMEA_intervals.data, cmd_configure_NMEA_intervals.length);
	  }

	  iteration_index++;
	  if(iteration_index > 10000000){
		  break;
	  }

    /* USER CODE END WHILE */

    /* USER CODE BEGIN 3 */
  }
  if(SD_card_enabled == 1){
	  //Close files and unmount SD card.
	  if(f_close(&filB16) == FR_OK){
	  		  WriteLineChar(&UART_OBC, "File B16 closed\r\n");
	  	  }
	  else{
	  		  WriteLineChar(&UART_OBC, "ERROR: File B16 not closed\r\n");
	  	  }
	  if(f_close(&filB17) == FR_OK){
		  WriteLineChar(&UART_OBC, "File B17 closed\r\n");
	  }
	  else{
		  WriteLineChar(&UART_OBC, "ERROR: File B17 not closed\r\n");
	  }

	  f_mount(NULL, "", 1);

  }

  free(OBC_Rx_arr.data), free(cmd_configure_navigation_data_message_interval.data);
  free(cmd_query_software_version.data);
  return 0;
  /* USER CODE END 3 */
}

void SystemClock_Config(void)
{
  RCC_OscInitTypeDef RCC_OscInitStruct = {0};
  RCC_ClkInitTypeDef RCC_ClkInitStruct = {0};

  /** Configure the main internal regulator output voltage
  */
  if (HAL_PWREx_ControlVoltageScaling(PWR_REGULATOR_VOLTAGE_SCALE1) != HAL_OK)
  {
    Error_Handler();
  }

  /** Initializes the RCC Oscillators according to the specified parameters
  * in the RCC_OscInitTypeDef structure.
  */
  RCC_OscInitStruct.OscillatorType = RCC_OSCILLATORTYPE_MSI;
  RCC_OscInitStruct.MSIState = RCC_MSI_ON;
  RCC_OscInitStruct.MSICalibrationValue = 0;
  RCC_OscInitStruct.MSIClockRange = RCC_MSIRANGE_6;
  RCC_OscInitStruct.PLL.PLLState = RCC_PLL_NONE;
  if (HAL_RCC_OscConfig(&RCC_OscInitStruct) != HAL_OK)
  {
    Error_Handler();
  }

  /** Initializes the CPU, AHB and APB buses clocks
  */
  RCC_ClkInitStruct.ClockType = RCC_CLOCKTYPE_HCLK|RCC_CLOCKTYPE_SYSCLK
                              |RCC_CLOCKTYPE_PCLK1|RCC_CLOCKTYPE_PCLK2;
  RCC_ClkInitStruct.SYSCLKSource = RCC_SYSCLKSOURCE_MSI;
  RCC_ClkInitStruct.AHBCLKDivider = RCC_SYSCLK_DIV1;
  RCC_ClkInitStruct.APB1CLKDivider = RCC_HCLK_DIV1;
  RCC_ClkInitStruct.APB2CLKDivider = RCC_HCLK_DIV1;

  if (HAL_RCC_ClockConfig(&RCC_ClkInitStruct, FLASH_LATENCY_0) != HAL_OK)
  {
    Error_Handler();
  }
}

static void MX_SPI1_Init(void)
{

  /* SPI1 parameter configuration*/
  hspi1.Instance = SPI1;
  hspi1.Init.Mode = SPI_MODE_MASTER;
  hspi1.Init.Direction = SPI_DIRECTION_2LINES;
  hspi1.Init.DataSize = SPI_DATASIZE_8BIT;
  hspi1.Init.CLKPolarity = SPI_POLARITY_LOW;
  hspi1.Init.CLKPhase = SPI_PHASE_1EDGE;
  hspi1.Init.NSS = SPI_NSS_SOFT;
  hspi1.Init.BaudRatePrescaler = SPI_BAUDRATEPRESCALER_2;
  hspi1.Init.FirstBit = SPI_FIRSTBIT_MSB;
  hspi1.Init.TIMode = SPI_TIMODE_DISABLE;
  hspi1.Init.CRCCalculation = SPI_CRCCALCULATION_DISABLE;
  hspi1.Init.CRCPolynomial = 7;
  hspi1.Init.CRCLength = SPI_CRC_LENGTH_DATASIZE;
  hspi1.Init.NSSPMode = SPI_NSS_PULSE_ENABLE;
  if (HAL_SPI_Init(&hspi1) != HAL_OK)
  {
    Error_Handler();
  }

}

static void MX_UART4_Init(void)
{

  huart4.Instance = UART4;
  huart4.Init.BaudRate = 115200;
  huart4.Init.WordLength = UART_WORDLENGTH_8B;
  huart4.Init.StopBits = UART_STOPBITS_1;
  huart4.Init.Parity = UART_PARITY_NONE;
  huart4.Init.Mode = UART_MODE_TX_RX;
  huart4.Init.HwFlowCtl = UART_HWCONTROL_NONE;
  huart4.Init.OverSampling = UART_OVERSAMPLING_16;
  huart4.Init.OneBitSampling = UART_ONE_BIT_SAMPLE_DISABLE;
  huart4.AdvancedInit.AdvFeatureInit = UART_ADVFEATURE_NO_INIT;
  if (HAL_UART_Init(&huart4) != HAL_OK)
  {
    Error_Handler();
  }

}

static void MX_USART1_UART_Init(void)
{

  huart1.Instance = USART1;
  huart1.Init.BaudRate = 115200;
  huart1.Init.WordLength = UART_WORDLENGTH_8B;
  huart1.Init.StopBits = UART_STOPBITS_1;
  huart1.Init.Parity = UART_PARITY_NONE;
  huart1.Init.Mode = UART_MODE_TX_RX;
  huart1.Init.HwFlowCtl = UART_HWCONTROL_NONE;
  huart1.Init.OverSampling = UART_OVERSAMPLING_16;
  huart1.Init.OneBitSampling = UART_ONE_BIT_SAMPLE_DISABLE;
  huart1.AdvancedInit.AdvFeatureInit = UART_ADVFEATURE_NO_INIT;
  if (HAL_UART_Init(&huart1) != HAL_OK)
  {
    Error_Handler();
  }

}

static void MX_USART2_UART_Init(void)
{

  huart2.Instance = USART2;
  huart2.Init.BaudRate = 115200;
  huart2.Init.WordLength = UART_WORDLENGTH_8B;
  huart2.Init.StopBits = UART_STOPBITS_1;
  huart2.Init.Parity = UART_PARITY_NONE;
  huart2.Init.Mode = UART_MODE_TX_RX;
  huart2.Init.HwFlowCtl = UART_HWCONTROL_NONE;
  huart2.Init.OverSampling = UART_OVERSAMPLING_16;
  huart2.Init.OneBitSampling = UART_ONE_BIT_SAMPLE_DISABLE;
  huart2.AdvancedInit.AdvFeatureInit = UART_ADVFEATURE_NO_INIT;
  if (HAL_UART_Init(&huart2) != HAL_OK)
  {
    Error_Handler();
  }

}

static void MX_DMA_Init(void)
{

  /* DMA controller clock enable */
  __HAL_RCC_DMA2_CLK_ENABLE();
  __HAL_RCC_DMA1_CLK_ENABLE();

  /* DMA interrupt init */
  /* DMA1_Channel6_IRQn interrupt configuration */
  HAL_NVIC_SetPriority(DMA1_Channel6_IRQn, 0, 0);
  HAL_NVIC_EnableIRQ(DMA1_Channel6_IRQn);
  /* DMA2_Channel5_IRQn interrupt configuration */
  HAL_NVIC_SetPriority(DMA2_Channel5_IRQn, 0, 0);
  HAL_NVIC_EnableIRQ(DMA2_Channel5_IRQn);

}

static void MX_GPIO_Init(void)
{
  GPIO_InitTypeDef GPIO_InitStruct = {0};

  /* GPIO Ports Clock Enable */
  __HAL_RCC_GPIOC_CLK_ENABLE();
  __HAL_RCC_GPIOA_CLK_ENABLE();
  __HAL_RCC_GPIOB_CLK_ENABLE();

  /*Configure GPIO pin Output Level */
  HAL_GPIO_WritePin(GPIOC, GPIO_PIN_13|GPIO_PIN_14, GPIO_PIN_RESET);

  /*Configure GPIO pin Output Level */
  HAL_GPIO_WritePin(GPIOB, SD_CS_Pin|GPIO_PIN_2|GPIO_PIN_10|GPIO_PIN_11, GPIO_PIN_RESET);

  /*Configure GPIO pins : PC13 PC14 */
  GPIO_InitStruct.Pin = GPIO_PIN_13|GPIO_PIN_14;
  GPIO_InitStruct.Mode = GPIO_MODE_OUTPUT_PP;
  GPIO_InitStruct.Pull = GPIO_NOPULL;
  GPIO_InitStruct.Speed = GPIO_SPEED_FREQ_LOW;
  HAL_GPIO_Init(GPIOC, &GPIO_InitStruct);

  /*Configure GPIO pins : SD_CS_Pin PB2 PB10 PB11 */
  GPIO_InitStruct.Pin = SD_CS_Pin|GPIO_PIN_2|GPIO_PIN_10|GPIO_PIN_11;
  GPIO_InitStruct.Mode = GPIO_MODE_OUTPUT_PP;
  GPIO_InitStruct.Pull = GPIO_NOPULL;
  GPIO_InitStruct.Speed = GPIO_SPEED_FREQ_LOW;
  HAL_GPIO_Init(GPIOB, &GPIO_InitStruct);

}

void Error_Handler(void)
{
	  __disable_irq();
	  while (1)
	  {
	  }
}
